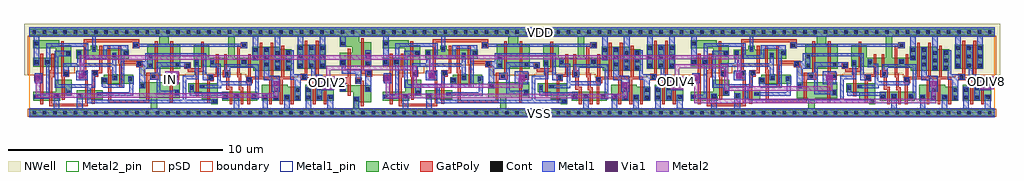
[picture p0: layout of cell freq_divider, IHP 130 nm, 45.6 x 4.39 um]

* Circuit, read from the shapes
.subckt freq_divider IN ODIV2 ODIV4 ODIV8 VDD VSS
XM1 n1 sg13g2_dfrbp_2_16/D n2 VSS sg13_lv_nmos w=0.42u l=0.13u
XM2 VSS sg13g2_tiehi_19/L_HI n1 VSS sg13_lv_nmos w=0.42u l=0.13u
XM3 n3 n4 VSS VSS sg13_lv_nmos w=0.74u l=0.13u
XM4 n5 sg13g2_tiehi_19/L_HI VSS VSS sg13_lv_nmos w=0.42u l=0.13u
XM5 n6 n3 n5 VSS sg13_lv_nmos w=0.42u l=0.13u
XM6 n4 n7 n2 VSS sg13_lv_nmos w=0.42u l=0.13u
XM7 n6 n8 n4 VSS sg13_lv_nmos w=0.42u l=0.13u
XM8 VSS n7 n8 VSS sg13_lv_nmos w=0.74u l=0.13u
XM9 n7 IN VSS VSS sg13_lv_nmos w=0.74u l=0.13u
XM10 n9 n7 n10 VSS sg13_lv_nmos w=0.42u l=0.13u
XM11 n3 n8 n9 VSS sg13_lv_nmos w=0.74u l=0.13u
XM12 VSS n11 n10 VSS sg13_lv_nmos w=0.42u l=0.13u
XM13 n12 sg13g2_tiehi_19/L_HI VSS VSS sg13_lv_nmos w=0.42u l=0.13u
XM14 n11 n9 n12 VSS sg13_lv_nmos w=0.42u l=0.13u
XM15 sg13g2_dfrbp_2_16/D n9 VSS VSS sg13_lv_nmos w=0.74u l=0.13u m=2
XM16 n13 n9 VSS VSS sg13_lv_nmos w=0.64u l=0.13u
XM17 ODIV2 n13 VSS VSS sg13_lv_nmos w=0.74u l=0.13u m=2
XM18 VSS n14 n14 VSS sg13_lv_nmos w=0.3u l=0.13u
XM19 n15 n16 VSS VSS sg13_lv_nmos w=0.795u l=0.13u
XM20 n17 sg13g2_dfrbp_2_17/D n18 VSS sg13_lv_nmos w=0.42u l=0.13u
XM21 VSS sg13g2_tiehi_19/L_HI n17 VSS sg13_lv_nmos w=0.42u l=0.13u
XM22 n19 n20 VSS VSS sg13_lv_nmos w=0.74u l=0.13u
XM23 n21 sg13g2_tiehi_19/L_HI VSS VSS sg13_lv_nmos w=0.42u l=0.13u
XM24 n22 n19 n21 VSS sg13_lv_nmos w=0.42u l=0.13u
XM25 n20 n23 n18 VSS sg13_lv_nmos w=0.42u l=0.13u
XM26 n22 n24 n20 VSS sg13_lv_nmos w=0.42u l=0.13u
XM27 VSS n23 n24 VSS sg13_lv_nmos w=0.74u l=0.13u
XM28 n23 ODIV2 VSS VSS sg13_lv_nmos w=0.74u l=0.13u
XM29 n25 n23 n26 VSS sg13_lv_nmos w=0.42u l=0.13u
XM30 n19 n24 n25 VSS sg13_lv_nmos w=0.74u l=0.13u
XM31 VSS n27 n26 VSS sg13_lv_nmos w=0.42u l=0.13u
XM32 n28 sg13g2_tiehi_19/L_HI VSS VSS sg13_lv_nmos w=0.42u l=0.13u
XM33 n27 n25 n28 VSS sg13_lv_nmos w=0.42u l=0.13u
XM34 sg13g2_dfrbp_2_17/D n25 VSS VSS sg13_lv_nmos w=0.74u l=0.13u m=2
XM35 n29 n25 VSS VSS sg13_lv_nmos w=0.64u l=0.13u
XM36 ODIV4 n29 VSS VSS sg13_lv_nmos w=0.74u l=0.13u m=2
XM37 n30 sg13g2_dfrbp_2_18/D n31 VSS sg13_lv_nmos w=0.42u l=0.13u
XM38 VSS sg13g2_tiehi_19/L_HI n30 VSS sg13_lv_nmos w=0.42u l=0.13u
XM39 n32 n33 VSS VSS sg13_lv_nmos w=0.74u l=0.13u
XM40 n34 sg13g2_tiehi_19/L_HI VSS VSS sg13_lv_nmos w=0.42u l=0.13u
XM41 n35 n32 n34 VSS sg13_lv_nmos w=0.42u l=0.13u
XM42 n33 n36 n31 VSS sg13_lv_nmos w=0.42u l=0.13u
XM43 n35 n37 n33 VSS sg13_lv_nmos w=0.42u l=0.13u
XM44 VSS n36 n37 VSS sg13_lv_nmos w=0.74u l=0.13u
XM45 n36 ODIV4 VSS VSS sg13_lv_nmos w=0.74u l=0.13u
XM46 n38 n36 n39 VSS sg13_lv_nmos w=0.42u l=0.13u
XM47 n32 n37 n38 VSS sg13_lv_nmos w=0.74u l=0.13u
XM48 VSS n40 n39 VSS sg13_lv_nmos w=0.42u l=0.13u
XM49 n41 sg13g2_tiehi_19/L_HI VSS VSS sg13_lv_nmos w=0.42u l=0.13u
XM50 n40 n38 n41 VSS sg13_lv_nmos w=0.42u l=0.13u
XM51 sg13g2_dfrbp_2_18/D n38 VSS VSS sg13_lv_nmos w=0.74u l=0.13u m=2
XM52 n42 n38 VSS VSS sg13_lv_nmos w=0.64u l=0.13u
XM53 ODIV8 n42 VSS VSS sg13_lv_nmos w=0.74u l=0.13u m=2
XM54 n2 sg13g2_dfrbp_2_16/D VDD VDD sg13_lv_pmos w=0.42u l=0.13u
XM55 VDD sg13g2_tiehi_19/L_HI n2 VDD sg13_lv_pmos w=0.42u l=0.13u
XM56 n3 n4 VDD VDD sg13_lv_pmos w=1u l=0.13u
XM57 VDD sg13g2_tiehi_19/L_HI n4 VDD sg13_lv_pmos w=0.42u l=0.13u
XM58 n43 n3 VDD VDD sg13_lv_pmos w=0.42u l=0.13u
XM59 n4 n7 n43 VDD sg13_lv_pmos w=0.42u l=0.13u
XM60 n2 n8 n4 VDD sg13_lv_pmos w=0.42u l=0.13u
XM61 VDD n7 n8 VDD sg13_lv_pmos w=1.12u l=0.13u
XM62 n7 IN VDD VDD sg13_lv_pmos w=1.12u l=0.13u
XM63 n9 n7 n3 VDD sg13_lv_pmos w=1u l=0.13u
XM64 n44 n8 n9 VDD sg13_lv_pmos w=0.42u l=0.13u
XM65 VDD n11 n44 VDD sg13_lv_pmos w=0.42u l=0.13u
XM66 n11 sg13g2_tiehi_19/L_HI VDD VDD sg13_lv_pmos w=0.42u l=0.13u
XM67 VDD n9 n11 VDD sg13_lv_pmos w=0.42u l=0.13u
XM68 sg13g2_dfrbp_2_16/D n9 VDD VDD sg13_lv_pmos w=1.12u l=0.13u m=2
XM69 n13 n9 VDD VDD sg13_lv_pmos w=1u l=0.13u
XM70 ODIV2 n13 VDD VDD sg13_lv_pmos w=1.12u l=0.13u m=2
XM71 VDD n14 n16 VDD sg13_lv_pmos w=0.66u l=0.13u
XM72 sg13g2_tiehi_19/L_HI n15 VDD VDD sg13_lv_pmos w=1.155u l=0.13u
XM73 n18 sg13g2_dfrbp_2_17/D VDD VDD sg13_lv_pmos w=0.42u l=0.13u
XM74 VDD sg13g2_tiehi_19/L_HI n18 VDD sg13_lv_pmos w=0.42u l=0.13u
XM75 n19 n20 VDD VDD sg13_lv_pmos w=1u l=0.13u
XM76 VDD sg13g2_tiehi_19/L_HI n20 VDD sg13_lv_pmos w=0.42u l=0.13u
XM77 n45 n19 VDD VDD sg13_lv_pmos w=0.42u l=0.13u
XM78 n20 n23 n45 VDD sg13_lv_pmos w=0.42u l=0.13u
XM79 n18 n24 n20 VDD sg13_lv_pmos w=0.42u l=0.13u
XM80 VDD n23 n24 VDD sg13_lv_pmos w=1.12u l=0.13u
XM81 n23 ODIV2 VDD VDD sg13_lv_pmos w=1.12u l=0.13u
XM82 n25 n23 n19 VDD sg13_lv_pmos w=1u l=0.13u
XM83 n46 n24 n25 VDD sg13_lv_pmos w=0.42u l=0.13u
XM84 VDD n27 n46 VDD sg13_lv_pmos w=0.42u l=0.13u
XM85 n27 sg13g2_tiehi_19/L_HI VDD VDD sg13_lv_pmos w=0.42u l=0.13u
XM86 VDD n25 n27 VDD sg13_lv_pmos w=0.42u l=0.13u
XM87 sg13g2_dfrbp_2_17/D n25 VDD VDD sg13_lv_pmos w=1.12u l=0.13u m=2
XM88 n29 n25 VDD VDD sg13_lv_pmos w=1u l=0.13u
XM89 ODIV4 n29 VDD VDD sg13_lv_pmos w=1.12u l=0.13u m=2
XM90 n31 sg13g2_dfrbp_2_18/D VDD VDD sg13_lv_pmos w=0.42u l=0.13u
XM91 VDD sg13g2_tiehi_19/L_HI n31 VDD sg13_lv_pmos w=0.42u l=0.13u
XM92 n32 n33 VDD VDD sg13_lv_pmos w=1u l=0.13u
XM93 VDD sg13g2_tiehi_19/L_HI n33 VDD sg13_lv_pmos w=0.42u l=0.13u
XM94 n47 n32 VDD VDD sg13_lv_pmos w=0.42u l=0.13u
XM95 n33 n36 n47 VDD sg13_lv_pmos w=0.42u l=0.13u
XM96 n31 n37 n33 VDD sg13_lv_pmos w=0.42u l=0.13u
XM97 VDD n36 n37 VDD sg13_lv_pmos w=1.12u l=0.13u
XM98 n36 ODIV4 VDD VDD sg13_lv_pmos w=1.12u l=0.13u
XM99 n38 n36 n32 VDD sg13_lv_pmos w=1u l=0.13u
XM100 n48 n37 n38 VDD sg13_lv_pmos w=0.42u l=0.13u
XM101 VDD n40 n48 VDD sg13_lv_pmos w=0.42u l=0.13u
XM102 n40 sg13g2_tiehi_19/L_HI VDD VDD sg13_lv_pmos w=0.42u l=0.13u
XM103 VDD n38 n40 VDD sg13_lv_pmos w=0.42u l=0.13u
XM104 sg13g2_dfrbp_2_18/D n38 VDD VDD sg13_lv_pmos w=1.12u l=0.13u m=2
XM105 n42 n38 VDD VDD sg13_lv_pmos w=1u l=0.13u
XM106 ODIV8 n42 VDD VDD sg13_lv_pmos w=1.12u l=0.13u m=2
.ends

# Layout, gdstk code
import gdstk
lib = gdstk.Library(unit=1e-6, precision=1e-09)
def R(c, l, rs):  # rectangles x0, y0, x1, y1
    for r in rs: c.add(gdstk.rectangle(r[:2], r[2:], *l))
def A(c, l, x, y, w, h, nx, ny, dx, dy):  # array of equal rectangles
    R(c, l, [(x+i*dx, y+j*dy, x+i*dx+w, y+j*dy+h) for i in range(nx) for j in range(ny)])
def P(c, l, *ps):  # polygons
    for p in ps: c.add(gdstk.Polygon(p, *l))
Activ = (1, 0)
GatPoly = (5, 0)
Cont = (6, 0)
Metal1 = (8, 0)
Metal1_pin = (8, 2)
Metal2 = (10, 0)
Metal2_pin = (10, 2)
pSD = (14, 0)
Via1 = (19, 0)
NWell = (31, 0)
boundary = (189, 4)

via_stack = lib.new_cell('via_stack')
R(via_stack, Metal1, [(-0.145,-0.145,0.145,0.145)])
R(via_stack, Metal2, [(-0.145,-0.145,0.145,0.145)])
R(via_stack, Via1, [(-0.095,-0.095,0.095,0.095)])

sg13g2_dfrbp_2 = lib.new_cell('sg13g2_dfrbp_2')
R(sg13g2_dfrbp_2, Activ, [(0,-0.15,14.4,0.15), (9.03,0.57,10.66,0.99), (12.91,0.57,14.23,1.31), (2.215,0.635,3.445,1.055), (12.535,2.06,13.86,3.18)])
P(sg13g2_dfrbp_2, Activ, [(0.19,2.16),(0.19,2.58),(1.24,2.58),(1.24,3.01),(0.19,3.01),(0.19,3.395),(1.415,3.395),(1.415,3.16),(1.96,3.16),(1.96,2.16)],
  [(0.19,0.57),(0.19,0.99),(1.245,0.99),(1.245,1.535),(2,1.535),(2,0.795),(1.445,0.795),(1.445,0.57)],
  [(2.19,2.525),(2.19,2.945),(2.88,2.945),(2.88,3.14),(3.18,3.14),(3.18,2.945),(4.645,2.945),(4.645,2.525)],
  [(3.365,1.36),(3.365,1.66),(3.475,1.66),(3.475,1.78),(3.905,1.78),(3.905,1.79),(4.145,1.79),(4.145,1.78),(4.86,1.78),(4.86,1.36)],
  [(8.52,0.39),(8.52,0.635),(8.06,0.635),(8.06,0.955),(7.445,0.955),(7.445,1.375),(8.82,1.375),(8.82,0.39)],
  [(5.68,0.15),(5.68,0.675),(5.135,0.675),(5.135,1.415),(7.045,1.415),(7.045,0.675),(5.98,0.675),(5.98,0.15)],
  [(5.53,2.05),(5.53,3.17),(6.075,3.17),(6.075,3.63),(6.53,3.63),(6.53,3.17),(7.07,3.17),(7.07,2.05)],
  [(10.87,0.57),(10.87,1.31),(12.08,1.31),(12.08,1.21),(12.7,1.21),(12.7,0.57)],
  [(10.47,1.96),(10.47,2.145),(7.695,2.145),(7.695,3.145),(8.415,3.145),(8.415,2.565),(9.31,2.565),(9.31,3.63),(0,3.63),(0,3.93),(14.4,3.93),(14.4,3.63),(9.61,3.63),(9.61,2.565),(10.43,2.565),(10.43,3.08),(11.715,3.08),(11.715,2.96),(12.26,2.96),(12.26,1.96)])
P(sg13g2_dfrbp_2, GatPoly, [(0.95,0.295),(0.95,1.98),(1.04,1.98),(1.04,2.76),(1.17,2.76),(1.17,1.65),(1.08,1.65),(1.08,0.43),(2.62,0.43),(2.62,1.685),(2.45,1.685),(2.45,1.985),(2.54,1.985),(2.54,3.435),(5.135,3.435),(5.135,3.005),(4.835,3.005),(4.835,3.305),(2.67,3.305),(2.67,1.985),(2.75,1.985),(2.75,0.295)],
  [(4.215,1.18),(4.215,2.29),(4.175,2.29),(4.175,3.125),(4.305,3.125),(4.305,2.44),(5.3,2.44),(5.3,2.125),(5,2.125),(5,2.29),(4.345,2.29),(4.345,1.18)],
  [(2.935,0.425),(2.935,1.985),(3.275,1.985),(3.275,3.125),(3.405,3.125),(3.405,1.855),(3.235,1.855),(3.235,1.685),(3.065,1.685),(3.065,0.425)],
  [(6.575,0.495),(6.575,1.69),(6.6,1.69),(6.6,3.35),(6.73,3.35),(6.73,1.87),(7.02,1.87),(7.02,1.54),(6.705,1.54),(6.705,0.495)],
  [(0.53,0.39),(0.53,1.47),(0.235,1.47),(0.235,1.77),(0.53,1.77),(0.53,2.76),(0.66,2.76),(0.66,0.39)],
  [(1.53,0.615),(1.53,1.685),(1.49,1.685),(1.49,3.34),(1.62,3.34),(1.62,1.985),(1.865,1.985),(1.865,1.685),(1.66,1.685),(1.66,0.615)],
  [(10.19,0.39),(10.19,1.385),(10.15,1.385),(10.15,1.685),(10.23,1.685),(10.23,2.745),(10.36,2.745),(10.36,1.685),(10.77,1.685),(10.77,3.26),(10.9,3.26),(10.9,1.685),(11.28,1.685),(11.28,3.26),(11.41,3.26),(11.41,1.685),(11.79,1.685),(11.79,3.14),(11.92,3.14),(11.92,1.685),(12.36,1.685),(12.36,0.39),(12.23,0.39),(12.23,1.555),(11.85,1.555),(11.85,0.39),(11.72,0.39),(11.72,1.555),(11.34,1.555),(11.34,0.39),(11.21,0.39),(11.21,1.555),(10.45,1.555),(10.45,1.385),(10.32,1.385),(10.32,0.39)],
  [(3.705,0.465),(3.705,1.855),(3.665,1.855),(3.665,3.125),(3.795,3.125),(3.795,2.005),(3.835,2.005),(3.835,0.605),(5.475,0.605),(5.475,1.87),(5.875,1.87),(5.875,3.35),(6.005,3.35),(6.005,1.87),(6.05,1.87),(6.05,1.54),(5.605,1.54),(5.605,0.465)],
  [(7.785,0.765),(7.785,1.92),(7.4,1.92),(7.4,2.055),(7.245,2.055),(7.245,2.355),(7.545,2.355),(7.545,2.07),(8.035,2.07),(8.035,3.325),(8.165,3.325),(8.165,1.92),(7.915,1.92),(7.915,0.765)],
  [(13.25,0.39),(13.25,1.515),(12.69,1.515),(12.69,1.815),(12.875,1.815),(12.875,3.36),(13.005,3.36),(13.005,1.65),(13.39,1.65),(13.39,3.36),(13.52,3.36),(13.52,1.65),(13.89,1.65),(13.89,0.39),(13.76,0.39),(13.76,1.515),(13.38,1.515),(13.38,0.39)],
  [(9.37,0.39),(9.37,1.065),(9.205,1.065),(9.205,1.655),(9.055,1.655),(9.055,1.985),(9.11,1.985),(9.11,2.745),(9.24,2.745),(9.24,1.985),(9.385,1.985),(9.385,1.655),(9.355,1.655),(9.355,1.215),(9.5,1.215),(9.5,0.39)],
  [(8.32,0.445),(8.32,1.805),(8.73,1.805),(8.73,2.745),(8.86,2.745),(8.86,1.675),(8.62,1.675),(8.62,1.475),(8.45,1.475),(8.45,0.445)],
  [(9.88,0.39),(9.88,1.06),(9.785,1.06),(9.785,1.65),(9.72,1.65),(9.72,3.14),(9.895,3.14),(9.895,3.305),(10.195,3.305),(10.195,3.005),(9.85,3.005),(9.85,1.815),(9.915,1.815),(9.915,1.195),(10.01,1.195),(10.01,0.39)])
A(sg13g2_dfrbp_2, Cont, 0.16, -0.08, 0.16, 0.16, 30, 2, 0.48, 3.78)
A(sg13g2_dfrbp_2, Cont, 10.94, 0.64, 0.16, 0.16, 5, 1, 0.51, 0)
A(sg13g2_dfrbp_2, Cont, 11.52, 2.03, 0.16, 0.16, 1, 3, 0, 0.34)
A(sg13g2_dfrbp_2, Cont, 12.03, 2.03, 0.16, 0.16, 1, 3, 0, 0.34)
A(sg13g2_dfrbp_2, Cont, 12.605, 2.135, 0.16, 0.16, 1, 3, 0, 0.405)
A(sg13g2_dfrbp_2, Cont, 13.115, 2.135, 0.16, 0.16, 1, 3, 0, 0.405)
A(sg13g2_dfrbp_2, Cont, 13.63, 2.135, 0.16, 0.16, 1, 3, 0, 0.405)
A(sg13g2_dfrbp_2, Cont, 11.01, 2.17, 0.16, 0.16, 1, 3, 0, 0.34)
R(sg13g2_dfrbp_2, Cont, [(8.59,0.46,8.75,0.62), (13.49,0.645,13.65,0.805), (14,0.645,14.16,0.805), (0.26,0.675,0.42,0.835), (1.19,0.675,1.35,0.835), (9.1,0.675,9.26,0.835), (9.61,0.675,9.77,0.835), (10.43,0.675,10.59,0.835), (2.285,0.705,2.445,0.865), (3.215,0.795,3.375,0.955), (6.815,0.86,6.975,1.02), (1.77,0.88,1.93,1.04), (11.45,0.98,11.61,1.14), (12.47,0.98,12.63,1.14), (12.98,0.98,13.14,1.14), (13.49,1.07,13.65,1.23), (7.515,1.075,7.675,1.235), (8.025,1.145,8.185,1.305), (5.205,1.185,5.365,1.345), (3.435,1.43,3.595,1.59), (10.22,1.455,10.38,1.615), (4.63,1.49,4.79,1.65), (0.305,1.54,0.465,1.7), (3.945,1.56,4.105,1.72), (8.39,1.56,8.55,1.72), (12.76,1.585,12.92,1.745), (5.735,1.625,5.895,1.785), (6.775,1.625,6.935,1.785), (9.14,1.74,9.3,1.9), (1.635,1.755,1.795,1.915), (2.52,1.755,2.68,1.915), (3.005,1.755,3.165,1.915), (7.315,2.125,7.475,2.285), (5.6,2.135,5.76,2.295), (6.84,2.175,7,2.335), (5.07,2.2,5.23,2.36), (7.765,2.215,7.925,2.375), (8.46,2.275,8.62,2.435), (9.96,2.285,10.12,2.445), (0.26,2.29,0.42,2.45), (0.77,2.295,0.93,2.455), (10.5,2.51,10.66,2.67), (5.6,2.54,5.76,2.7), (3.905,2.595,4.065,2.755), (1.73,2.69,1.89,2.85), (2.26,2.69,2.42,2.85), (4.415,2.705,4.575,2.865), (10.5,2.85,10.66,3.01), (2.95,2.91,3.11,3.07), (4.905,3.075,5.065,3.235), (9.965,3.075,10.125,3.235), (0.265,3.165,0.425,3.325)])
R(sg13g2_dfrbp_2, Metal1, [(6.365,1.335,6.99,1.935), (0.255,1.375,0.61,1.855), (2.2,1.51,2.75,1.965)])
P(sg13g2_dfrbp_2, Metal1, [(3.89,1.51),(3.89,2.145),(1.845,2.145),(1.845,1.705),(1.585,1.705),(1.585,2.305),(2.245,2.305),(2.245,2.9),(2.425,2.9),(2.425,2.315),(3.89,2.315),(3.89,2.805),(4.075,2.805),(4.075,1.81),(4.11,1.81),(4.11,1.51)],
  [(13.44,0.595),(13.44,1.515),(13.19,1.515),(13.19,2.085),(13.065,2.085),(13.065,3.175),(13.36,3.175),(13.36,1.775),(13.7,1.775),(13.7,1.49),(14.21,1.49),(14.21,1.045),(13.7,1.045),(13.7,0.595)],
  [(4.855,3.025),(4.855,3.285),(5.115,3.285),(5.115,3.235),(9.91,3.235),(9.91,3.285),(10.18,3.285),(10.18,3.025),(9.91,3.025),(9.91,3.075),(5.115,3.075),(5.115,3.025)],
  [(7.96,1.145),(7.96,1.315),(8.79,1.315),(8.79,2.125),(8.455,2.125),(8.455,2.5),(8.66,2.5),(8.66,2.295),(8.95,2.295),(8.95,1.465),(10.165,1.465),(10.165,1.665),(10.39,1.665),(10.39,1.275),(8.97,1.275),(8.97,1.145)],
  [(3.165,0.785),(3.165,0.96),(4.685,0.96),(4.685,1.44),(4.63,1.44),(4.63,1.7),(4.895,1.7),(4.895,1.3),(4.865,1.3),(4.865,0.785)],
  [(9.05,0.625),(9.05,0.805),(7.51,0.805),(7.51,1.31),(7.68,1.31),(7.68,0.965),(9.31,0.965),(9.31,0.625)],
  [(11.47,1.98),(11.47,3.56),(10.71,3.56),(10.71,2.46),(10.45,2.46),(10.45,3.56),(3.115,3.56),(3.115,2.86),(2.945,2.86),(2.945,3.56),(0.47,3.56),(0.47,2.215),(0.215,2.215),(0.215,3.56),(0,3.56),(0,4),(14.4,4),(14.4,3.56),(13.84,3.56),(13.84,2.085),(13.58,2.085),(13.58,3.56),(12.815,3.56),(12.815,2.085),(12.555,2.085),(12.555,3.56),(11.73,3.56),(11.73,1.98)],
  [(6.755,0.81),(6.755,0.855),(5.965,0.855),(5.965,1.54),(5.65,1.54),(5.65,1.87),(5.965,1.87),(5.965,2.37),(7.525,2.37),(7.525,2.075),(7.265,2.075),(7.265,2.145),(6.125,2.145),(6.125,1.025),(6.755,1.025),(6.755,1.07),(6.99,1.07),(6.99,0.81)],
  [(0.21,0.645),(0.21,0.84),(0.79,0.84),(0.79,2.24),(0.72,2.24),(0.72,2.52),(0.79,2.52),(0.79,3.24),(2.765,3.24),(2.765,2.68),(3.455,2.68),(3.455,3.145),(4.625,3.145),(4.625,2.685),(4.45,2.685),(4.45,1.17),(3.465,1.17),(3.465,1.225),(3.385,1.225),(3.385,1.64),(3.645,1.64),(3.645,1.33),(4.29,1.33),(4.29,2.985),(3.615,2.985),(3.615,2.52),(2.605,2.52),(2.605,3.08),(0.98,3.08),(0.98,2.24),(0.95,2.24),(0.95,0.645)],
  [(5.155,1.135),(5.155,2.15),(5.02,2.15),(5.02,2.41),(5.425,2.41),(5.425,2.79),(8.275,2.79),(8.275,1.77),(8.6,1.77),(8.6,1.51),(8.115,1.51),(8.115,2.63),(5.785,2.63),(5.785,2.06),(5.415,2.06),(5.415,1.135)],
  [(2.705,0.44),(2.705,1.17),(1.98,1.17),(1.98,0.815),(1.72,0.815),(1.72,1.17),(1.2,1.17),(1.2,2.9),(1.94,2.9),(1.94,2.64),(1.36,2.64),(1.36,1.33),(2.935,1.33),(2.935,1.965),(3.215,1.965),(3.215,1.755),(3.095,1.755),(3.095,1.17),(2.875,1.17),(2.875,0.605),(7.17,0.605),(7.17,1.725),(7.745,1.725),(7.745,2.45),(7.935,2.45),(7.935,1.555),(7.33,1.555),(7.33,0.605),(8.54,0.605),(8.54,0.625),(8.8,0.625),(8.8,0.44)],
  [(0,-0.22),(0,0.22),(1.14,0.22),(1.14,0.885),(1.4,0.885),(1.4,0.22),(2.235,0.22),(2.235,0.915),(2.495,0.915),(2.495,0.22),(9.56,0.22),(9.56,0.885),(9.82,0.885),(9.82,0.22),(10.91,0.22),(10.91,0.85),(11.15,0.85),(11.15,0.22),(11.91,0.22),(11.91,0.85),(12.17,0.85),(12.17,0.22),(12.93,0.22),(12.93,1.21),(13.19,1.21),(13.19,0.22),(13.935,0.22),(13.935,0.84),(14.21,0.84),(14.21,0.22),(14.4,0.22),(14.4,-0.22)],
  [(12.4,0.59),(12.4,1.535),(12.19,1.535),(12.19,1.98),(11.98,1.98),(11.98,2.92),(12.36,2.92),(12.36,1.795),(12.985,1.795),(12.985,1.535),(12.685,1.535),(12.685,0.59)],
  [(11.395,0.59),(11.395,0.99),(11.34,0.99),(11.34,1.52),(10.96,1.52),(10.96,3.06),(11.22,3.06),(11.22,1.74),(11.72,1.74),(11.72,0.99),(11.66,0.99),(11.66,0.59)],
  [(10.38,0.625),(10.38,0.885),(10.57,0.885),(10.57,2.1),(9.385,2.1),(9.385,1.655),(9.13,1.655),(9.13,2.26),(9.91,2.26),(9.91,2.495),(10.17,2.495),(10.17,2.26),(10.73,2.26),(10.73,0.625)])
R(sg13g2_dfrbp_2, Metal1_pin, [(0,-0.22,14.4,0.22), (11.34,0.99,11.72,1.74), (13.44,1.045,14.21,1.49), (6.365,1.335,6.99,1.935), (0.255,1.375,0.61,1.855), (2.2,1.51,2.75,1.965), (0,3.56,14.4,4)])
R(sg13g2_dfrbp_2, pSD, [(-0.07,-0.18,14.47,0.18)])
P(sg13g2_dfrbp_2, pSD, [(10.17,1.66),(10.17,1.76),(7.245,1.76),(7.245,1.75),(5.35,1.75),(5.35,2.225),(2.14,2.225),(2.14,1.835),(0.945,1.835),(0.945,1.76),(-0.07,1.76),(-0.07,3.6),(14.47,3.6),(14.47,1.76),(12.56,1.76),(12.56,1.66)])
P(sg13g2_dfrbp_2, NWell, [(10.095,1.65),(10.095,1.835),(7.315,1.835),(7.315,1.74),(5.22,1.74),(5.22,2.215),(2.27,2.215),(2.27,1.85),(0.935,1.85),(0.935,1.75),(-0.24,1.75),(-0.24,4.17),(14.64,4.17),(14.64,1.75),(12.57,1.75),(12.57,1.65)])
R(sg13g2_dfrbp_2, boundary, [(0,0,14.4,3.78)])
sg13g2_dfrbp_2.add(gdstk.Label('VDD', (2.085,3.79), layer=8, texttype=25))
sg13g2_dfrbp_2.add(gdstk.Label('Q', (13.98,1.265), layer=8, texttype=25))
sg13g2_dfrbp_2.add(gdstk.Label('Q_N', (11.56,1.295), layer=8, texttype=25))
sg13g2_dfrbp_2.add(gdstk.Label('D', (0.325,1.53), layer=8, texttype=25))
sg13g2_dfrbp_2.add(gdstk.Label('VSS', (6.77,0), layer=8, texttype=25))
sg13g2_dfrbp_2.add(gdstk.Label('RESET_B', (2.385,1.73), layer=8, texttype=25))
sg13g2_dfrbp_2.add(gdstk.Label('CLK', (6.69,1.655), layer=8, texttype=25))

sg13g2_tiehi = lib.new_cell('sg13g2_tiehi')
P(sg13g2_tiehi, Activ, [(0,-0.15),(0,0.15),(0.74,0.15),(0.74,0.975),(0.115,0.975),(0.115,1.275),(1.58,1.275),(1.58,0.48),(1.01,0.48),(1.01,0.15),(1.92,0.15),(1.92,-0.15)],
  [(0.115,2.145),(0.115,2.805),(0.705,2.805),(0.705,3.075),(0.115,3.075),(0.115,3.63),(0,3.63),(0,3.93),(1.92,3.93),(1.92,3.63),(1.02,3.63),(1.02,3.3),(1.58,3.3),(1.58,2.145)])
P(sg13g2_tiehi, GatPoly, [(1.105,0.3),(1.105,1.345),(0.845,1.345),(0.845,1.645),(1.145,1.645),(1.145,1.49),(1.235,1.49),(1.235,0.3)],
  [(0.485,0.785),(0.485,1.355),(0.115,1.355),(0.115,1.655),(0.485,1.655),(0.485,2.995),(0.615,2.995),(0.615,0.785)],
  [(1.33,1.675),(1.33,1.83),(1.11,1.83),(1.11,3.49),(1.24,3.49),(1.24,1.975),(1.63,1.975),(1.63,1.675)])
R(sg13g2_tiehi, Cont, [(0.16,-0.08,0.32,0.08), (0.16,-0.08,0.32,0.08), (0.64,-0.08,0.8,0.08), (0.64,-0.08,0.8,0.08), (1.12,-0.08,1.28,0.08), (1.12,-0.08,1.28,0.08), (1.6,-0.08,1.76,0.08), (1.6,-0.08,1.76,0.08), (0.81,0.55,0.97,0.71), (1.35,1.035,1.51,1.195), (0.185,1.045,0.345,1.205), (0.915,1.415,1.075,1.575), (0.185,1.425,0.345,1.585), (1.4,1.745,1.56,1.905), (1.35,2.215,1.51,2.375), (0.185,2.24,0.345,2.4), (1.35,2.655,1.51,2.815), (0.185,3.145,0.345,3.305), (0.16,3.7,0.32,3.86), (0.16,3.7,0.32,3.86), (0.64,3.7,0.8,3.86), (0.64,3.7,0.8,3.86), (1.12,3.7,1.28,3.86), (1.12,3.7,1.28,3.86), (1.6,3.7,1.76,3.86), (1.6,3.7,1.76,3.86)])
R(sg13g2_tiehi, Metal1, [(1.3,0.985,1.575,1.955), (0.135,0.995,0.395,1.635), (1.3,2.165,1.585,2.91)])
P(sg13g2_tiehi, Metal1, [(0.135,3.095),(0.135,3.56),(0,3.56),(0,4),(1.92,4),(1.92,3.56),(0.395,3.56),(0.395,3.095)],
  [(0,-0.22),(0,0.22),(0.76,0.22),(0.76,0.76),(1.02,0.76),(1.02,0.22),(1.92,0.22),(1.92,-0.22)],
  [(0.87,1.355),(0.87,1.815),(0.195,1.815),(0.195,2.19),(0.135,2.19),(0.135,2.45),(0.395,2.45),(0.395,2.03),(1.12,2.03),(1.12,1.355)])
R(sg13g2_tiehi, Metal1_pin, [(0,-0.22,1.92,0.22), (1.3,2.165,1.585,2.91), (0,3.56,1.92,4)])
R(sg13g2_tiehi, pSD, [(-0.07,-0.18,1.99,0.18), (-0.07,1.76,1.99,3.6)])
R(sg13g2_tiehi, NWell, [(-0.24,1.75,2.16,4.17)])
R(sg13g2_tiehi, boundary, [(0,0,1.92,3.78)])
sg13g2_tiehi.add(gdstk.Label('VSS', (0.94,0), layer=8, texttype=25))
sg13g2_tiehi.add(gdstk.Label('VDD', (0.985,3.785), layer=8, texttype=25))
sg13g2_tiehi.add(gdstk.Label('L_HI', (1.443,2.52), layer=8, texttype=25))

freq_divider = lib.new_cell('freq_divider')
R(freq_divider, Metal1_pin, [(0.24,0,45.36,0.44), (0.24,3.78,45.36,4.22)])
R(freq_divider, Metal2, [(13.885,1.32,14.51,1.92), (13.885,1.32,14.51,1.92), (30.185,1.33,30.81,1.93), (44.68,1.33,45.305,1.93), (6.605,1.555,7.23,2.155)])
R(freq_divider, Metal2_pin, [(13.885,1.32,14.51,1.92), (13.885,1.32,14.51,1.92), (30.185,1.33,30.81,1.93), (44.68,1.33,45.305,1.93), (6.605,1.555,7.23,2.155)])
freq_divider.add(gdstk.FlexPath([(28.09,1.47),(28.09,1.005),(16.99,1.005),(16.99,1.84)], 0.2, ends="flush", simple_path=True, layer=10, datatype=0))  # Metal2
freq_divider.add(gdstk.FlexPath([(0.66,1.825),(0.66,1.025),(11.785,1.025),(11.785,1.625)], 0.2, ends="flush", simple_path=True, layer=10, datatype=0))  # Metal2
freq_divider.add(gdstk.FlexPath([(31.42,1.84),(31.42,0.765),(42.515,0.765),(42.515,1.625)], 0.2, ends="flush", simple_path=True, layer=10, datatype=0))  # Metal2
freq_divider.add(gdstk.FlexPath([(30.515,1.495),(30.515,2.395),(32.815,2.395),(32.815,1.35),(37.655,1.35),(37.655,1.92)], 0.2, ends="flush", simple_path=True, layer=10, datatype=0))  # Metal2
freq_divider.add(gdstk.FlexPath([(18.89,2.81),(33.42,2.81),(33.42,1.815)], 0.2, ends="flush", simple_path=True, layer=10, datatype=0))  # Metal2
freq_divider.add(gdstk.FlexPath([(2.705,1.81),(2.705,2.805),(19.045,2.805),(19.045,2.22),(19.045,1.865)], 0.2, ends="flush", simple_path=True, layer=10, datatype=0))  # Metal2
freq_divider.add(gdstk.FlexPath([(14.22,1.48),(14.22,2.315),(18.245,2.315),(18.245,1.48),(23.21,1.48),(23.21,1.92)], 0.2, ends="flush", simple_path=True, layer=10, datatype=0))  # Metal2
freq_divider.add(gdstk.Reference(via_stack, (14.215,1.465)))
freq_divider.add(gdstk.Reference(via_stack, (30.53,1.475)))
freq_divider.add(gdstk.Reference(via_stack, (45,1.475)))
freq_divider.add(gdstk.Reference(via_stack, (28.1,1.495)))
freq_divider.add(gdstk.Reference(via_stack, (42.495,1.575)))
freq_divider.add(gdstk.Reference(via_stack, (11.785,1.58)))
freq_divider.add(gdstk.Reference(via_stack, (16.995,1.81)))
freq_divider.add(gdstk.Reference(via_stack, (31.4,1.84)))
freq_divider.add(gdstk.Reference(via_stack, (6.91,1.845)))
freq_divider.add(gdstk.Reference(via_stack, (23.255,1.845)))
freq_divider.add(gdstk.Reference(via_stack, (37.635,1.85)))
freq_divider.add(gdstk.Reference(via_stack, (0.66,1.86)))
freq_divider.add(gdstk.Reference(via_stack, (2.705,1.955)))
freq_divider.add(gdstk.Reference(via_stack, (19.045,1.96)))
freq_divider.add(gdstk.Reference(via_stack, (33.42,1.96)))
freq_divider.add(gdstk.Reference(via_stack, (16.08,2.805)))
freq_divider.add(gdstk.Reference(sg13g2_dfrbp_2, (0.24,0.22)))
freq_divider.add(gdstk.Reference(sg13g2_dfrbp_2, (16.56,0.22)))
freq_divider.add(gdstk.Reference(sg13g2_dfrbp_2, (30.96,0.22)))
freq_divider.add(gdstk.Reference(sg13g2_tiehi, (14.64,0.22)))
freq_divider.add(gdstk.Label('VSS', (24.08,0.19), layer=8, texttype=25))
freq_divider.add(gdstk.Label('VDD', (24.135,3.965), layer=8, texttype=25))
freq_divider.add(gdstk.Label('ODIV8', (44.96,1.665), layer=10, texttype=25))
freq_divider.add(gdstk.Label('ODIV2', (14.165,1.65), layer=10, texttype=25))
freq_divider.add(gdstk.Label('ODIV2', (14.165,1.65), layer=10, texttype=25))
freq_divider.add(gdstk.Label('ODIV4', (30.465,1.66), layer=10, texttype=25))
freq_divider.add(gdstk.Label('IN', (6.825,1.785), layer=10, texttype=25))

lib.write_gds('freq_divider.gds')
